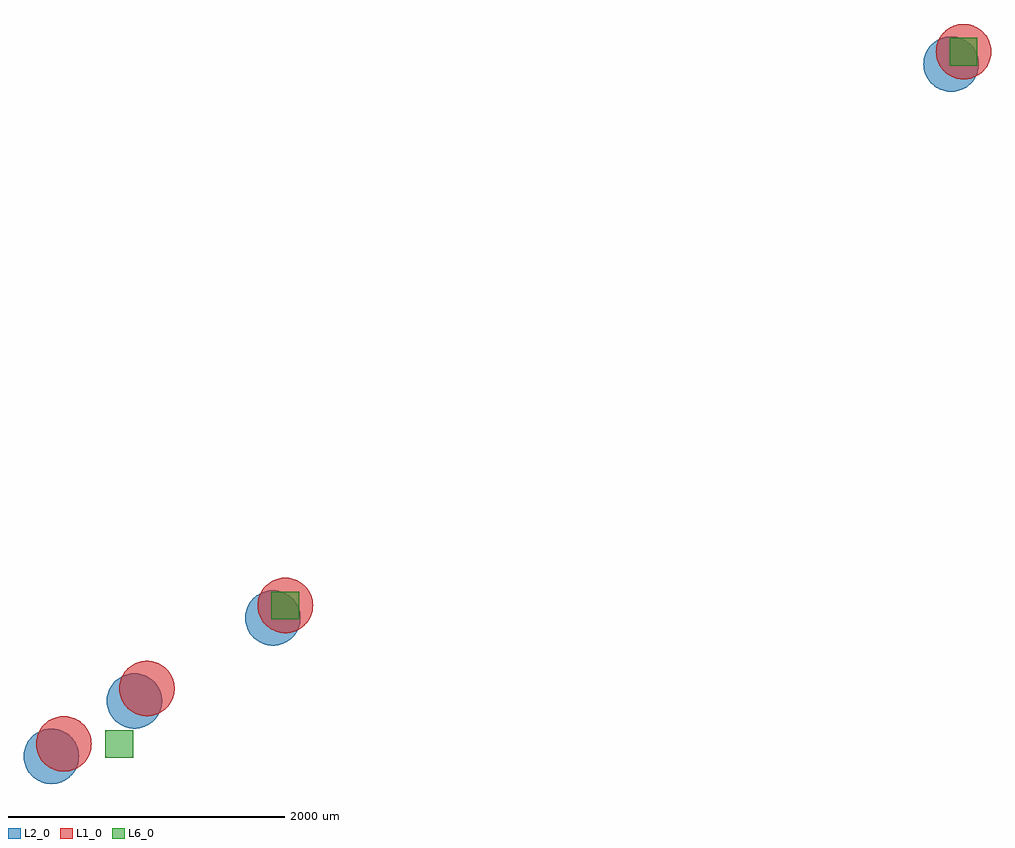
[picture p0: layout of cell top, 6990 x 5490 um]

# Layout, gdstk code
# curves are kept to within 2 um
import gdstk
lib = gdstk.Library(unit=1e-6, precision=1e-09)
def R(c, l, rs):  # rectangles x0, y0, x1, y1
    for r in rs: c.add(gdstk.rectangle(r[:2], r[2:], *l))
def P(c, l, *ps):  # polygons
    for p in ps: c.add(gdstk.Polygon(p, *l))
L1_0 = (1, 0)
L2_0 = (2, 0)
L6_0 = (6, 0)

pad0 = lib.new_cell('pad0')
R(pad0, L6_0, [(-100,-100,100,100)])

comp0 = lib.new_cell('comp0')
P(comp0, L1_0, [(300,100),(296.457,137.476),(285.955,173.625),(268.866,207.165),(245.794,236.909),(207.165,268.866),(173.625,285.955),(137.476,296.457),(100,300),(62.524,296.457),(26.375,285.955),(-7.165,268.866),(-36.909,245.794),(-68.866,207.165),(-85.955,173.625),(-96.457,137.476),(-100,100),(-96.457,62.524),(-85.955,26.375),(-68.866,-7.165),(-45.794,-36.909),(-7.165,-68.866),(26.375,-85.955),(62.524,-96.457),(100,-100),(137.476,-96.457),(173.625,-85.955),(207.165,-68.866),(236.909,-45.794),(268.866,-7.165),(285.955,26.375),(296.457,62.524)])
P(comp0, L2_0, [(100,0),(92.978,36.812),(72.897,68.455),(42.578,90.483),(18.738,98.229),(0,100),(-36.812,92.978),(-68.455,72.897),(-90.483,42.578),(-98.229,18.738),(-100,0),(-92.978,-36.812),(-72.897,-68.455),(-42.578,-90.483),(-18.738,-98.229),(0,-100),(36.812,-92.978),(68.455,-72.897),(90.483,-42.578),(98.229,-18.738)],
  [(210,10),(206.457,47.476),(195.955,83.625),(178.866,117.165),(155.794,146.909),(117.165,178.866),(83.625,195.955),(47.476,206.457),(10,210),(-27.476,206.457),(-63.625,195.955),(-97.165,178.866),(-126.909,155.794),(-158.866,117.165),(-175.955,83.625),(-186.457,47.476),(-190,10),(-186.457,-27.476),(-175.955,-63.625),(-158.866,-97.165),(-135.794,-126.909),(-97.165,-158.866),(-63.625,-175.955),(-27.476,-186.457),(10,-190),(47.476,-186.457),(83.625,-175.955),(117.165,-158.866),(146.909,-135.794),(178.866,-97.165),(195.955,-63.625),(206.457,-27.476)])

layout0 = lib.new_cell('layout0')
layout0.add(gdstk.Reference(pad0, (0,0)))
layout0.add(gdstk.Reference(comp0, (100,300)))
layout0.add(gdstk.Reference(comp0, (-500,-100)))

layout1 = lib.new_cell('layout1')
layout1.add(gdstk.Reference(pad0, (100,100)))
layout1.add(gdstk.Reference(comp0, (0,0)))

top = lib.new_cell('top')
top.add(gdstk.Reference(layout0, (-1000,100)))
top.add(gdstk.Reference(layout1, (100,1000)))
top.add(gdstk.Reference(layout1, (5000,5000)))

lib.write_gds('top.gds')
